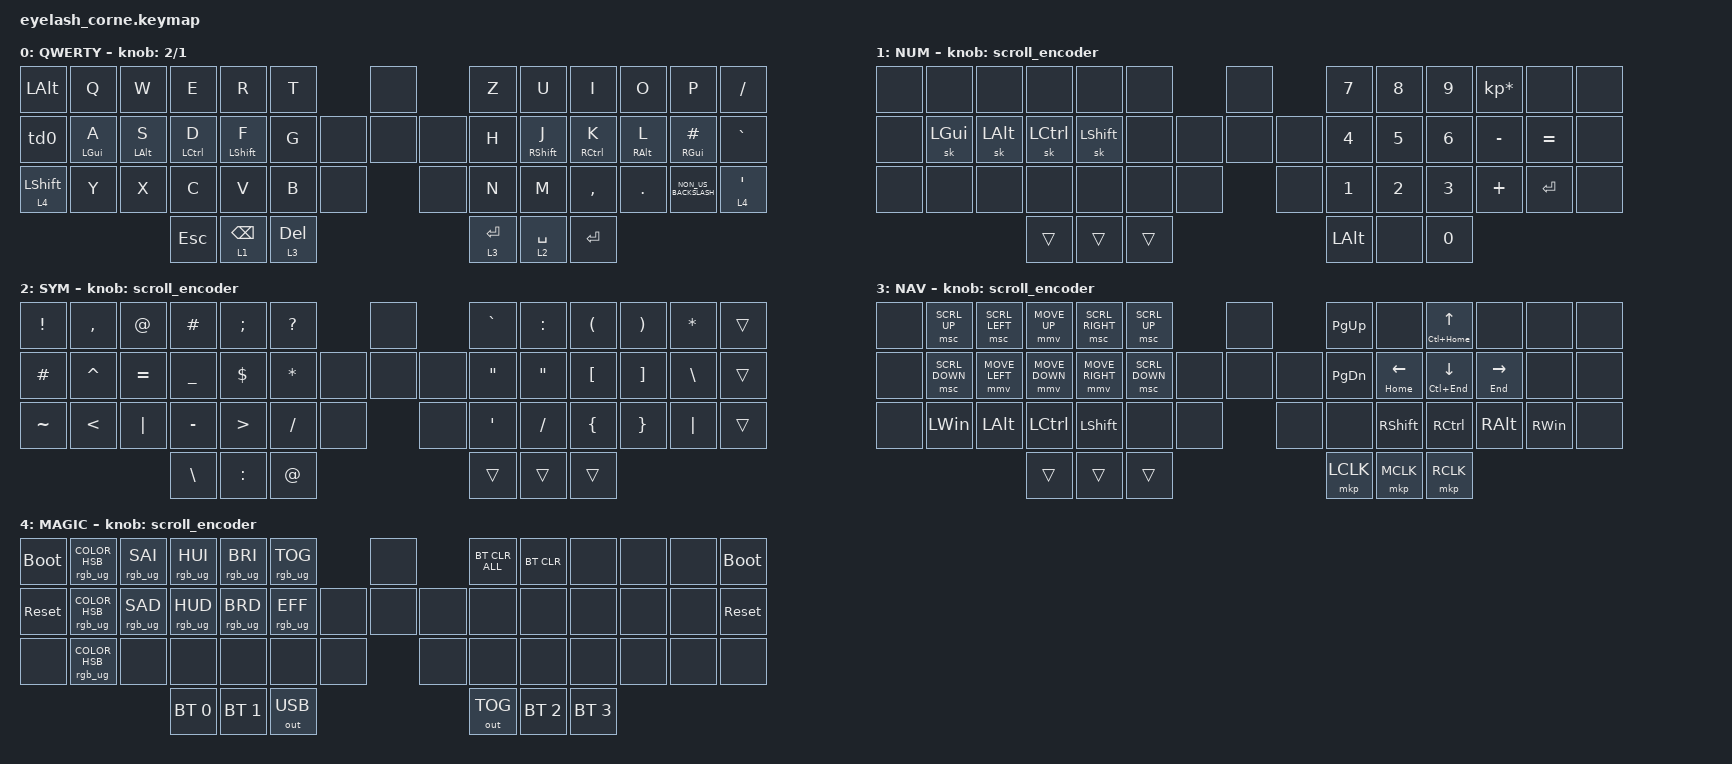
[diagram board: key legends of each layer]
#define ZMK_POINTING_DEFAULT_MOVE_VAL 1200  // 600
#define ZMK_POINTING_DEFAULT_SCRL_VAL 25   // 10

#include <input/processors.dtsi>
#include <zephyr/dt-bindings/input/input-event-codes.h>
#include <behaviors.dtsi>
#include <dt-bindings/zmk/bt.h>
#include <dt-bindings/zmk/keys.h>
#include <dt-bindings/zmk/outputs.h>
#include <dt-bindings/zmk/pointing.h>
#include <dt-bindings/zmk/rgb.h>

&mmv_input_listener { input-processors = <&zip_xy_scaler 2 1>; };

&msc_input_listener { input-processors = <&zip_scroll_scaler 2 1>; };

&msc {
    acceleration-exponent = <1>;      // 0
    time-to-max-speed-ms = <100>;       // 300
    delay-ms = <0>;                   // 0
};

&mmv {
    time-to-max-speed-ms = <500>;
    acceleration-exponent = <1>;
    trigger-period-ms = <16>;
};

/ {
    behaviors {
        td0: td0 {
            compatible = "zmk,behavior-tap-dance";
            display-name = "Shift/Caps Lock Tap Dance";
            #binding-cells = <0>;
            bindings = <&kp LEFT_SHIFT>, <&kp CAPS>;
        };

        cursor_nav: cursor_nav {
            compatible = "zmk,behavior-hold-tap";
            label = "CURSOR_NAV";
            bindings = <&kp>, <&kp>;

            #binding-cells = <2>;
            tapping-term-ms = <300>;
            quick-tap-ms = <500>;
            flavor = "balanced";
        };
    };

    rgb_encoder: rgb_encoder {
        compatible = "zmk,behavior-sensor-rotate";
        #sensor-binding-cells = <0>;
        bindings = <&rgb_ug RGB_BRI>, <&rgb_ug RGB_BRD>;
    };

    scroll_encoder: scroll_encoder {
        compatible = "zmk,behavior-sensor-rotate";
        #sensor-binding-cells = <0>;
        bindings = <&msc SCRL_DOWN>, <&msc SCRL_UP>;

        tap-ms = <100>;
    };

    combos {
        compatible = "zmk,combos";

        kp_COPY {
            bindings = <&kp_COPY>;
            key-positions = <31 30>;
            layers = <0>;
        };

        kp_CUT {
            bindings = <&kp_CUT>;
            key-positions = <32 30>;
            layers = <0>;
        };

        kp_PASTE {
            bindings = <&kp_PASTE>;
            key-positions = <32 31>;
            layers = <0>;
        };

        kp_AMPERSAND {
            bindings = <&kp AMPERSAND>;
            key-positions = <10 25>;
            layers = <0>;
        };

        kp_AT {
            bindings = <&kp AT_SIGN>;
            key-positions = <2 15>;
            layers = <0>;
        };

        kp_BACKSLASH {
            bindings = <&kp NON_US_BACKSLASH>;
            key-positions = <31 16>;
            layers = <0>;
        };

        kp_BACKSPACE {
            bindings = <&kp BACKSPACE>;
            key-positions = <8 9>;
            layers = <0 1 2>;
        };

        kp_BACKTICK {
            bindings = <&kp GRAVE>;
            key-positions = <30 15>;
            layers = <0>;
        };

        kp_BRBRCLOSE {
            bindings = <&kp RIGHT_BRACKET>;
            key-positions = <38 39>;
            layers = <0>;
        };

        kp_BRBROPEN {
            bindings = <&kp LEFT_BRACKET>;
            key-positions = <38 37>;
            layers = <0>;
        };

        kp_CARET {
            bindings = <&kp CARET>;
            key-positions = <22 7>;
            layers = <0>;
        };

        kp_DELETE {
            bindings = <&kp DELETE>;
            key-positions = <9 10>;
            layers = <0 1 2>;
        };

        kp_DOLLAR {
            bindings = <&kp DOLLAR>;
            key-positions = <4 17>;
            layers = <0>;
        };

        kp_ENTER {
            bindings = <&kp ENTER>;
            key-positions = <24 25>;
            layers = <0 1 2>;
        };

        kp_EQUAL {
            bindings = <&kp EQUAL>;
            key-positions = <32 17>;
            layers = <0>;
        };

        kp_ESC {
            bindings = <&kp ESCAPE>;
            key-positions = <2 3>;
        };

        kp_HASH {
            bindings = <&kp HASH>;
            key-positions = <16 3>;
            layers = <0>;
        };

        kp_MINUS {
            bindings = <&kp MINUS>;
            key-positions = <37 23>;
            layers = <0>;
        };

        kp_PERCENT {
            bindings = <&kp PERCENT>;
            key-positions = <5 18>;
            layers = <0>;
        };

        kp_PIPE {
            bindings = <&kp PIPE>;
            key-positions = <39 25>;
            layers = <0>;
        };

        kp_PLUS {
            bindings = <&kp PLUS>;
            key-positions = <8 23>;
            layers = <0>;
        };

        kp_SLASH {
            bindings = <&kp SLASH>;
            key-positions = <38 24>;
            layers = <0>;
        };

        kp_STAR {
            bindings = <&kp STAR>;
            key-positions = <24 9>;
            layers = <0>;
        };

        kp_TAB {
            bindings = <&kp TAB>;
            key-positions = <16 15>;
            layers = <0 1 2>;
        };

        kp_TILDE {
            bindings = <&kp TILDE>;
            key-positions = <33 18>;
            layers = <0>;
        };

        kp_UNDERSCORE {
            bindings = <&kp UNDER>;
            key-positions = <36 22>;
            layers = <0>;
        };

        sk_MEH {
            bindings = <&sk LS(LC(LEFT_ALT))>;
            key-positions = <46 47>;
            layers = <0>;
        };

        kp_ALTSPACE {
            bindings = <&kp LA(SPACE)>;
            key-positions = <46 45>;
            layers = <0>;
        };
    };

    macros {
        kp_COPY: kp_COPY {
            compatible = "zmk,behavior-macro";
            #binding-cells = <0>;
            bindings = <&kp LC(C)>;
            label = "kp_COPY";
        };

        kp_CUT: kp_CUT {
            compatible = "zmk,behavior-macro";
            #binding-cells = <0>;
            bindings = <&kp LC(X)>;
            label = "kp_CUT";
        };

        kp_PASTE: kp_PASTE {
            compatible = "zmk,behavior-macro";
            #binding-cells = <0>;
            bindings = <&kp LC(V)>;
            label = "kp_PASTE";
        };
    };

    keymap {
        compatible = "zmk,keymap";

        default_layer {
            display-name = "QWERTY";
            bindings = <
&kp LALT          &kp Q           &kp W           &kp E               &kp R             &kp T                         &none         &kp Z        &kp U              &kp I                &kp O            &kp P                 &kp SLASH
&td0              &mt LEFT_GUI A  &mt LEFT_ALT S  &mt LEFT_CONTROL D  &mt LEFT_SHIFT F  &kp G                  &none  &none  &none  &kp H        &mt RIGHT_SHIFT J  &mt RIGHT_CONTROL K  &mt RIGHT_ALT L  &mt RIGHT_GUI HASH    &kp GRAVE
&lt 4 LEFT_SHIFT  &kp Y           &kp X           &kp C               &kp V             &kp B         &none           &none         &kp N        &kp M              &kp COMMA            &kp DOT          &kp NON_US_BACKSLASH  &lt 4 SINGLE_QUOTE
                                                  &kp ESC             &lt 1 BACKSPACE   &lt 3 DELETE                                &lt 3 ENTER  &lt 2 SPACE        &kp ENTER
            >;

            // sensor-bindings = <&inc_dec_kp C_VOLUME_UP C_VOLUME_DOWN>;

            sensor-bindings = <&inc_dec_kp N2 N1>;
        };

        NUMBER {
            display-name = "NUM";
            bindings = <
&none  &none         &none         &none             &none           &none                   &none         &kp N7        &kp N8  &kp N9  &kp KP_MULTIPLY  &none      &none
&none  &sk LEFT_GUI  &sk LEFT_ALT  &sk LEFT_CONTROL  &sk LEFT_SHIFT  &none            &none  &none  &none  &kp N4        &kp N5  &kp N6  &kp MINUS        &kp EQUAL  &none
&none  &none         &none         &none             &none           &none   &none           &none         &kp N1        &kp N2  &kp N3  &kp PLUS         &kp ENTER  &none
                                   &trans            &trans          &trans                                &kp LEFT_ALT  &none   &kp N0
            >;

            sensor-bindings = <&scroll_encoder>;
        };

        SYMBOL {
            display-name = "SYM";
            bindings = <
&kp EXCLAMATION  &kp COMMA      &kp AT     &kp HASH       &kp SEMICOLON     &kp QUESTION                  &none         &kp GRAVE          &kp COLON          &kp LEFT_PARENTHESIS  &kp RIGHT_PARENTHESIS  &kp ASTERISK  &trans
&kp HASH         &kp CARET      &kp EQUAL  &kp UNDER      &kp DOLLAR        &kp ASTERISK           &none  &none  &none  &kp DOUBLE_QUOTES  &kp DOUBLE_QUOTES  &kp LBKT              &kp RBKT               &kp BSLH      &trans
&kp TILDE        &kp LESS_THAN  &kp PIPE   &kp MINUS      &kp GREATER_THAN  &kp SLASH     &none           &none         &kp SQT            &kp SLASH          &kp LBRC              &kp RBRC               &kp PIPE      &trans
                                           &kp BACKSLASH  &kp COLON         &kp AT_SIGN                                 &trans             &trans             &trans
            >;

            sensor-bindings = <&scroll_encoder>;
        };

        CURSOR_NAV {
            display-name = "NAV";
            bindings = <
&none  &msc SCRL_UP    &msc SCRL_LEFT  &mmv MOVE_UP      &msc SCRL_RIGHT  &msc SCRL_UP                    &none         &kp PAGE_UP    &none                        &cursor_nav LC(HOME) UP_ARROW  &none                  &none          &none
&none  &msc SCRL_DOWN  &mmv MOVE_LEFT  &mmv MOVE_DOWN    &mmv MOVE_RIGHT  &msc SCRL_DOWN           &none  &none  &none  &kp PAGE_DOWN  &cursor_nav HOME LEFT_ARROW  &cursor_nav LC(END) DOWN       &cursor_nav END RIGHT  &none          &none
&none  &kp LEFT_WIN    &kp LEFT_ALT    &kp LEFT_CONTROL  &kp LEFT_SHIFT   &none           &none           &none         &none          &kp RIGHT_SHIFT              &kp RIGHT_CONTROL              &kp RIGHT_ALT          &kp RIGHT_WIN  &none
                                       &trans            &trans           &trans                                        &mkp LCLK      &mkp MCLK                    &mkp RCLK
            >;

            sensor-bindings = <&scroll_encoder>;
        };

        MAGIC {
            display-name = "MAGIC";
            bindings = <
&bootloader  &rgb_ug RGB_COLOR_HSB(360,99,50)   &rgb_ug RGB_SAI  &rgb_ug RGB_HUI  &rgb_ug RGB_BRI  &rgb_ug RGB_TOG                  &none         &bt BT_CLR_ALL  &bt BT_CLR    &none         &none  &none  &bootloader
&sys_reset   &rgb_ug RGB_COLOR_HSB(125,100,50)  &rgb_ug RGB_SAD  &rgb_ug RGB_HUD  &rgb_ug RGB_BRD  &rgb_ug RGB_EFF           &none  &none  &none  &none           &none         &none         &none  &none  &sys_reset
&none        &rgb_ug RGB_COLOR_HSB(240,100,50)  &none            &none            &none            &none            &none           &none         &none           &none         &none         &none  &none  &none
                                                                 &bt BT_SEL 0     &bt BT_SEL 1     &out OUT_USB                                   &out OUT_TOG    &bt BT_SEL 2  &bt BT_SEL 3
            >;

            sensor-bindings = <&scroll_encoder>;
        };
    };
};
